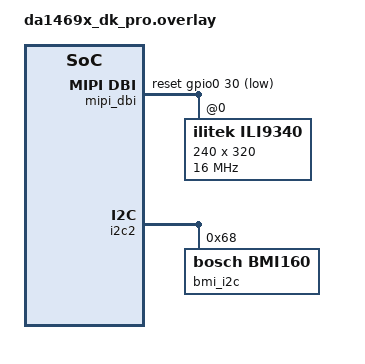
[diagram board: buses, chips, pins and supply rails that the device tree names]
/*
 * Copyright (c) 2023 Renesas Electronics Corporation
 *
 * SPDX-License-Identifier: Apache-2.0
 */

 #include <zephyr/dt-bindings/mipi_dbi/smartbond_mipi_dbi.h>
 #include <zephyr/dt-bindings/display/ili9xxx.h>
 #include <zephyr/dt-bindings/gpio/gpio.h>

 / {
    chosen {
        zephyr,display = &ili9340;
    };
 };

 / {
	aliases {
		accel0 = &bmi_i2c;
	};
};

&mipi_dbi {
    reset-gpios = <&gpio0 30 GPIO_ACTIVE_LOW>;
    layer-format = <SMARTBOND_MIPI_DBI_L0_RGB565>;
    status = "okay";

    ili9340: ili9340@0 {
        compatible = "ilitek,ili9340";
        spi-max-frequency = <16000000>;
        status = "okay";
        reg = <0>;
        width = <240>;
        height = <320>;
        pixel-format = <ILI9XXX_PIXEL_FORMAT_RGB565>;
    };
};

&i2c2 {
	bmi_i2c: bmi@68 {
		compatible = "bosch,bmi160";
		reg = <0x68>;
	};
};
